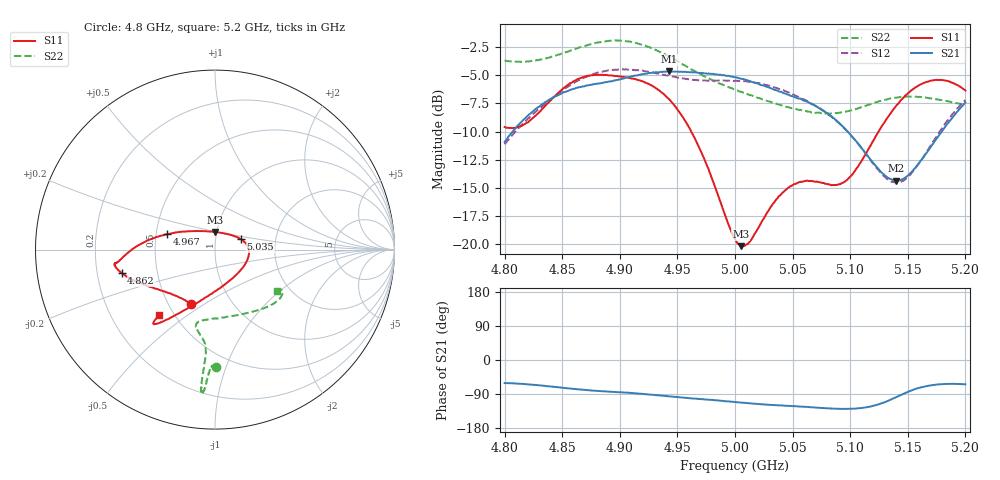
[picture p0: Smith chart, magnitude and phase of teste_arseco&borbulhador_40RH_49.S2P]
! Network Analyzer HP8722D
! Hewlett-Packard
! Data name: Linha & Wilkinson
! Saver's name: Rodrigo Anjos
! Comments: Teste da utilização de aquisição
! continua pelo VNA HP8722D
! Time and date: 15/4/2025 16:45
!  Frequency  S11  S21  S12  S22
# HZ  S  MA R 50
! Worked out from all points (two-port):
!   401 points, 4.8 GHz to 5.2 GHz, reference 50 ohm
!   highest |S21| = -4.65 dB at 4.943 GHz (marker M1); lowest = -14.4 dB at 5.14 GHz (marker M2)
!   |S21| within 3 dB of the highest: 4.832 GHz to 5.069 GHz (237.3 MHz wide, 4.79 % of centre); 5.198031 GHz to end of sweep
!   lowest |S11| = -20.2 dB at 5.005 GHz (marker M3), VSWR 1.22, Z = 49.2 + j9.7 ohm
!   |S11| at or under -10 dB: 4.962 GHz to 5.125 GHz (162.7 MHz wide, 3.23 % of centre)
!   |S22| runs from -8.4 to -1.9 dB; largest |S21 - S12| = 0.88
!   S11 on the Smith chart (normalised r, x): 4.8 GHz: 0.65, -0.44; 4.862 GHz: 0.31, -0.11; 4.967 GHz: 0.57, +0.11; 5.035 GHz: 1.33, +0.16; 5.2 GHz: 0.41, -0.39
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4.8e9  0.3315 -114.0  0.2843 -60.9  0.2778 -175.1  0.6539 -89.5
4.819e9  0.3453 -133.8  0.3674 -64.0  0.3549 -173.5  0.6483 -91.3
4.862e9  0.5362 -165.9  0.4947 -76.8  0.5277 -176.6  0.7401 -93.7
4.867e9  0.55 -167.8  0.5008 -78.3  0.5439 -177.5  0.7547 -93.8
4.9e9  0.5565 -172.3  0.5398 -85.0  0.5966 175.7  0.8032 -95.3
4.934e9  0.4833 -178.2  0.58 -93.5  0.5729 171.8  0.7182 -95.8
4.943e9  0.4389 177.8  0.5856 -96.0  0.5605 171.9  0.681 -95.5
4.967e9  0.2819 162.3  0.5781 -102.2  0.5356 173.8  0.5788 -95.1
5e9  0.1052 106.2  0.5529 -111.1  0.5326 176.2  0.4854 -99.5
5.005e9  0.0977 89.2  0.5437 -112.3  0.5308 176.3  0.4749 -100.6
5.013e9  0.1026 62.8  0.5311 -114.4  0.5251 176.1  0.4592 -102.4
5.035e9  0.1557 21.9  0.4844 -119.2  0.4959 174.9  0.4225 -103.7
5.05e9  0.1825 6.1  0.4541 -121.7  0.4623 174.4  0.4008 -100.4
5.067e9  0.1904 -12.1  0.4177 -124.8  0.4204 173.8  0.3851 -91.7
5.086e9  0.1828 -42.5  0.3622 -128.4  0.3598 173.6  0.3819 -77.5
5.097e9  0.1921 -65.7  0.3194 -129.1  0.3185 174.3  0.3889 -68.3
5.134e9  0.3746 -116.5  0.1954 -106.3  0.1918 -159.2  0.4428 -43.4
5.14e9  0.4126 -120.0  0.1913 -98.0  0.1879 -149.6  0.4471 -40.8
5.152e9  0.4767 -124.8  0.2058 -81.7  0.2026 -130.9  0.4525 -36.3
5.17e9  0.5324 -128.8  0.2701 -66.9  0.2751 -112.8  0.4447 -32.2
5.184e9  0.5314 -130.1  0.3411 -63.1  0.3516 -107.3  0.4316 -31.2
5.2e9  0.4815 -130.6  0.4259 -64.2  0.4372 -106.2  0.4154 -33.5
